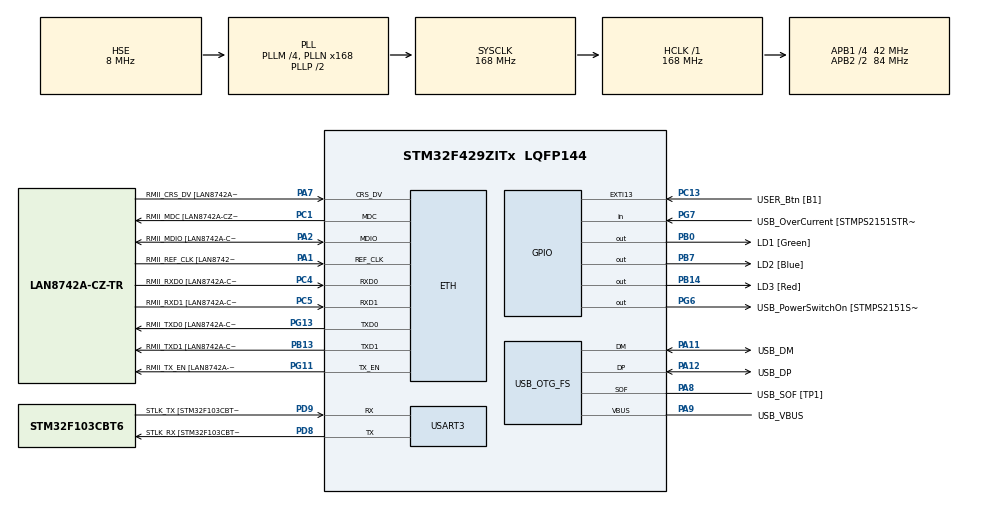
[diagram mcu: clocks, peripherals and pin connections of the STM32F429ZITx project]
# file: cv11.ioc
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ETH.MediaInterface=HAL_ETH_RMII_MODE
ETH.PHY_Name=LAN8742A_PHY_ADDRESS
ETH.PHY_Value=0
ETH.PhyAddress=0
Mcu.Family=STM32F4
Mcu.Name=STM32F429ZITx
Mcu.Package=LQFP144
NVIC.OTG_FS_IRQn=true\:0\:0\:false\:false\:true\:false\:true\:true
NVIC.PriorityGroup=NVIC_PRIORITYGROUP_4
PA1.GPIO_Label=RMII_REF_CLK [LAN8742A-CZ-TR_REFCLK0]
PA1.Mode=RMII
PA1.Signal=ETH_REF_CLK
PA10.GPIO_Label=USB_ID
PA10.Signal=USB_OTG_FS_ID
PA11.GPIO_Label=USB_DM
PA11.Mode=Device_Only
PA11.Signal=USB_OTG_FS_DM
PA12.GPIO_Label=USB_DP
PA12.Mode=Device_Only
PA12.Signal=USB_OTG_FS_DP
PA13.GPIO_Label=TMS
PA13.Mode=Serial_Wire
PA13.Signal=SYS_JTMS-SWDIO
PA14.GPIO_Label=TCK
PA14.Mode=Serial_Wire
PA14.Signal=SYS_JTCK-SWCLK
PA2.GPIO_Label=RMII_MDIO [LAN8742A-CZ-TR_MDIO]
PA2.Mode=RMII
PA2.Signal=ETH_MDIO
PA7.GPIO_Label=RMII_CRS_DV [LAN8742A-CZ-TR_CRS_DV]
PA7.Mode=RMII
PA7.Signal=ETH_CRS_DV
PA8.GPIO_Label=USB_SOF [TP1]
PA8.Mode=Activate_SOF_FS
PA8.Signal=USB_OTG_FS_SOF
PA9.GPIO_Label=USB_VBUS
PA9.Mode=Activate_VBUS
PA9.Signal=USB_OTG_FS_VBUS
PB0.GPIO_Label=LD1 [Green]
PB0.Signal=GPIO_Output
PB13.GPIO_Label=RMII_TXD1 [LAN8742A-CZ-TR_TXD1]
PB13.Mode=RMII
PB13.Signal=ETH_TXD1
PB14.GPIO_Label=LD3 [Red]
PB14.Signal=GPIO_Output
PB7.GPIO_Label=LD2 [Blue]
PB7.Signal=GPIO_Output
PC1.GPIO_Label=RMII_MDC [LAN8742A-CZ-TR_MDC]
PC1.Mode=RMII
PC1.Signal=ETH_MDC
PC13.GPIO_Label=USER_Btn [B1]
PC13.Signal=GPXTI13
PC14/OSC32_IN.Mode=LSE-External-Oscillator
PC14/OSC32_IN.Signal=RCC_OSC32_IN
PC15/OSC32_OUT.Mode=LSE-External-Oscillator
PC15/OSC32_OUT.Signal=RCC_OSC32_OUT
PC4.GPIO_Label=RMII_RXD0 [LAN8742A-CZ-TR_RXD0]
PC4.Mode=RMII
PC4.Signal=ETH_RXD0
PC5.GPIO_Label=RMII_RXD1 [LAN8742A-CZ-TR_RXD1]
PC5.Mode=RMII
PC5.Signal=ETH_RXD1
PD8.GPIO_Label=STLK_RX [STM32F103CBT6_PA3]
PD8.Mode=Asynchronous
PD8.Signal=USART3_TX
PD9.GPIO_Label=STLK_TX [STM32F103CBT6_PA2]
PD9.Mode=Asynchronous
PD9.Signal=USART3_RX
PG11.GPIO_Label=RMII_TX_EN [LAN8742A-CZ-TR_TXEN]
PG11.Mode=RMII
PG11.Signal=ETH_TX_EN
PG13.GPIO_Label=RMII_TXD0 [LAN8742A-CZ-TR_TXD0]
PG13.Mode=RMII
PG13.Signal=ETH_TXD0
PG6.GPIO_Label=USB_PowerSwitchOn [STMPS2151STR_EN]
PG6.Signal=GPIO_Output
PG7.GPIO_Label=USB_OverCurrent [STMPS2151STR_FAULT]
PG7.Signal=GPIO_Input
PH0/OSC_IN.GPIO_Label=MCO [STM32F103CBT6_PA8]
PH0/OSC_IN.Mode=HSE-External-Clock-Source
PH0/OSC_IN.Signal=RCC_OSC_IN
PH1/OSC_OUT.Mode=HSE-External-Clock-Source
PH1/OSC_OUT.Signal=RCC_OSC_OUT
ProjectManager.HeapSize=0x200
ProjectManager.StackSize=0x400
ProjectManager.TargetToolchain=STM32CubeIDE
RCC.48MHZClocksFreq_Value=48000000
RCC.AHBFreq_Value=168000000
RCC.APB1CLKDivider=RCC_HCLK_DIV4
RCC.APB1Freq_Value=42000000
RCC.APB1TimFreq_Value=84000000
RCC.APB2CLKDivider=RCC_HCLK_DIV2
RCC.APB2Freq_Value=84000000
RCC.APB2TimCLKDivider=2
RCC.APB2TimFreq_Value=168000000
RCC.CortexFreq_Value=168000000
RCC.HCLKFreq_Value=168000000
RCC.HSE_VALUE=8000000
RCC.HSI_VALUE=16000000
RCC.PLLM=4
RCC.PLLMUL=RCC_PLL_MUL9
RCC.PLLN=168
RCC.PLLQ=7
RCC.PRESCALERUSB=RCC_USBCLKSOURCE_PLL_DIV1_5
RCC.SYSCLKFreq_VALUE=168000000
RCC.SYSCLKSource=RCC_SYSCLKSOURCE_PLLCLK
RCC.SYSCLKSourceVirtual=RCC_SYSCLKSOURCE_PLLCLK
RCC.USBFreq_Value=48000000
RCC.VCOOutputFreq_Value=336000000
USART3.VirtualMode=VM_ASYNC
USB_DEVICE.CLASS_NAME_FS=HID
USB_DEVICE.VirtualMode-HID_FS=Hid
USB_DEVICE.VirtualModeFS=Hid_FS
USB_OTG_FS.VirtualMode=Device_Only
VP_USB_DEVICE_VS_USB_DEVICE_HID_FS.Mode=HID_FS
board=NUCLEO-F429ZI

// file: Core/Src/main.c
/* USER CODE BEGIN Header */
/**
  ******************************************************************************
  * @file           : main.c
  * @brief          : Main program body
  ******************************************************************************
  * @attention
  *
  * Copyright (c) 2023 STMicroelectronics.
  * All rights reserved.
  *
  * This software is licensed under terms that can be found in the LICENSE file
  * in the root directory of this software component.
  * If no LICENSE file comes with this software, it is provided AS-IS.
  *
  ******************************************************************************
  */
/* USER CODE END Header */
#include "main.h"
#include "string.h"
#include "usb_device.h"

/* USER CODE BEGIN Includes */
#include "usbd_hid.h"
#include <stdbool.h>
#include <math.h>
/* USER CODE END Includes */

/* USER CODE BEGIN PD */
#define PI 3.14159265359
/* USER CODE END PD */

ETH_TxPacketConfig TxConfig;
ETH_DMADescTypeDef  DMARxDscrTab[ETH_RX_DESC_CNT]; /* Ethernet Rx DMA Descriptors */
ETH_DMADescTypeDef  DMATxDscrTab[ETH_TX_DESC_CNT]; /* Ethernet Tx DMA Descriptors */

UART_HandleTypeDef huart3;

/* USER CODE BEGIN PV */
extern USBD_HandleTypeDef hUsbDeviceFS;
/* USER CODE END PV */

void SystemClock_Config(void);
static void MX_GPIO_Init(void);
static void MX_USART3_UART_Init(void);

/* USER CODE BEGIN 0 */

void step(int x, int y, bool btn)
{
	uint8_t buff[4];

	buff[0] = btn;      // stiskni leve tlacitko
	buff[1] = (int8_t)(x);    // posun X
	buff[2] = (int8_t)(y);    // posun Y
	buff[3] = 0; 		// bez scrollu

	USBD_HID_SendReport(&hUsbDeviceFS, buff, sizeof(buff));
	HAL_Delay(USBD_HID_GetPollingInterval(&hUsbDeviceFS));
}

void circle(int rad, float start, float len)
{
	float x,y,fi;
	int16_t sx=0, sy=0;

	uint8_t num_steps;
	num_steps = 50;

	for(uint8_t i = 0; i < num_steps*(len+start); i++)
	{
		fi=i*2*M_PI/(num_steps-1);
		x=rad*cosf(fi);
		y=rad*sinf(fi);

		if(fi>=(2*M_PI)*start)	step((int16_t)sx+x,(int16_t)sy+y,1);
		else	step((int16_t)sx+x,(int16_t)sy+y,0);

		sx=(int16_t)x;
		sy=(int16_t)y;
	}
	step(0,0,0);
}

/* USER CODE END 0 */

int main(void)
{

  /* MCU Configuration--------------------------------------------------------*/

  /* Reset of all peripherals, Initializes the Flash interface and the Systick. */
  HAL_Init();

  /* Configure the system clock */
  SystemClock_Config();

  /* Initialize all configured peripherals */
  MX_GPIO_Init();
  MX_USART3_UART_Init();
  MX_USB_DEVICE_Init();

  /* Infinite loop */
  /* USER CODE BEGIN WHILE */
  while (1)
  {
	  if (HAL_GPIO_ReadPin(USER_Btn_GPIO_Port, USER_Btn_Pin))
	  {
		  circle(10,0,1);			//face
		  step(-5,35,0);
		  circle(8,3.0/8.0,2.0/8.0);	//mouth
		  step(10,-80,0);
		  circle(2,0,1);				//lefteye
		  step(90,0,0);
		  circle(2,0,1);				//righteye
		  step(-45,10,0);
		  step(0,25,1);					//nose
		  step(0,30,0);

	  }

    /* USER CODE END WHILE */

  }
}

void SystemClock_Config(void)
{
  RCC_OscInitTypeDef RCC_OscInitStruct = {0};
  RCC_ClkInitTypeDef RCC_ClkInitStruct = {0};

  /** Configure the main internal regulator output voltage
  */
  __HAL_RCC_PWR_CLK_ENABLE();
  __HAL_PWR_VOLTAGESCALING_CONFIG(PWR_REGULATOR_VOLTAGE_SCALE1);

  /** Initializes the RCC Oscillators according to the specified parameters
  * in the RCC_OscInitTypeDef structure.
  */
  RCC_OscInitStruct.OscillatorType = RCC_OSCILLATORTYPE_HSE;
  RCC_OscInitStruct.HSEState = RCC_HSE_BYPASS;
  RCC_OscInitStruct.PLL.PLLState = RCC_PLL_ON;
  RCC_OscInitStruct.PLL.PLLSource = RCC_PLLSOURCE_HSE;
  RCC_OscInitStruct.PLL.PLLM = 4;
  RCC_OscInitStruct.PLL.PLLN = 168;
  RCC_OscInitStruct.PLL.PLLP = RCC_PLLP_DIV2;
  RCC_OscInitStruct.PLL.PLLQ = 7;
  if (HAL_RCC_OscConfig(&RCC_OscInitStruct) != HAL_OK)
  {
    Error_Handler();
  }

  /** Initializes the CPU, AHB and APB buses clocks
  */
  RCC_ClkInitStruct.ClockType = RCC_CLOCKTYPE_HCLK|RCC_CLOCKTYPE_SYSCLK
                              |RCC_CLOCKTYPE_PCLK1|RCC_CLOCKTYPE_PCLK2;
  RCC_ClkInitStruct.SYSCLKSource = RCC_SYSCLKSOURCE_PLLCLK;
  RCC_ClkInitStruct.AHBCLKDivider = RCC_SYSCLK_DIV1;
  RCC_ClkInitStruct.APB1CLKDivider = RCC_HCLK_DIV4;
  RCC_ClkInitStruct.APB2CLKDivider = RCC_HCLK_DIV2;

  if (HAL_RCC_ClockConfig(&RCC_ClkInitStruct, FLASH_LATENCY_5) != HAL_OK)
  {
    Error_Handler();
  }
}

static void MX_USART3_UART_Init(void)
{

  huart3.Instance = USART3;
  huart3.Init.BaudRate = 115200;
  huart3.Init.WordLength = UART_WORDLENGTH_8B;
  huart3.Init.StopBits = UART_STOPBITS_1;
  huart3.Init.Parity = UART_PARITY_NONE;
  huart3.Init.Mode = UART_MODE_TX_RX;
  huart3.Init.HwFlowCtl = UART_HWCONTROL_NONE;
  huart3.Init.OverSampling = UART_OVERSAMPLING_16;
  if (HAL_UART_Init(&huart3) != HAL_OK)
  {
    Error_Handler();
  }

}

static void MX_GPIO_Init(void)
{
  GPIO_InitTypeDef GPIO_InitStruct = {0};

  /* GPIO Ports Clock Enable */
  __HAL_RCC_GPIOC_CLK_ENABLE();
  __HAL_RCC_GPIOH_CLK_ENABLE();
  __HAL_RCC_GPIOA_CLK_ENABLE();
  __HAL_RCC_GPIOB_CLK_ENABLE();
  __HAL_RCC_GPIOD_CLK_ENABLE();
  __HAL_RCC_GPIOG_CLK_ENABLE();

  /*Configure GPIO pin Output Level */
  HAL_GPIO_WritePin(GPIOB, LD1_Pin|LD3_Pin|LD2_Pin, GPIO_PIN_RESET);

  /*Configure GPIO pin Output Level */
  HAL_GPIO_WritePin(USB_PowerSwitchOn_GPIO_Port, USB_PowerSwitchOn_Pin, GPIO_PIN_RESET);

  /*Configure GPIO pin : USER_Btn_Pin */
  GPIO_InitStruct.Pin = USER_Btn_Pin;
  GPIO_InitStruct.Mode = GPIO_MODE_IT_RISING;
  GPIO_InitStruct.Pull = GPIO_NOPULL;
  HAL_GPIO_Init(USER_Btn_GPIO_Port, &GPIO_InitStruct);

  /*Configure GPIO pins : LD1_Pin LD3_Pin LD2_Pin */
  GPIO_InitStruct.Pin = LD1_Pin|LD3_Pin|LD2_Pin;
  GPIO_InitStruct.Mode = GPIO_MODE_OUTPUT_PP;
  GPIO_InitStruct.Pull = GPIO_NOPULL;
  GPIO_InitStruct.Speed = GPIO_SPEED_FREQ_LOW;
  HAL_GPIO_Init(GPIOB, &GPIO_InitStruct);

  /*Configure GPIO pin : USB_PowerSwitchOn_Pin */
  GPIO_InitStruct.Pin = USB_PowerSwitchOn_Pin;
  GPIO_InitStruct.Mode = GPIO_MODE_OUTPUT_PP;
  GPIO_InitStruct.Pull = GPIO_NOPULL;
  GPIO_InitStruct.Speed = GPIO_SPEED_FREQ_LOW;
  HAL_GPIO_Init(USB_PowerSwitchOn_GPIO_Port, &GPIO_InitStruct);

  /*Configure GPIO pin : USB_OverCurrent_Pin */
  GPIO_InitStruct.Pin = USB_OverCurrent_Pin;
  GPIO_InitStruct.Mode = GPIO_MODE_INPUT;
  GPIO_InitStruct.Pull = GPIO_NOPULL;
  HAL_GPIO_Init(USB_OverCurrent_GPIO_Port, &GPIO_InitStruct);

}

void Error_Handler(void)
{
  __disable_irq();
  while (1)
  {
  }
}
